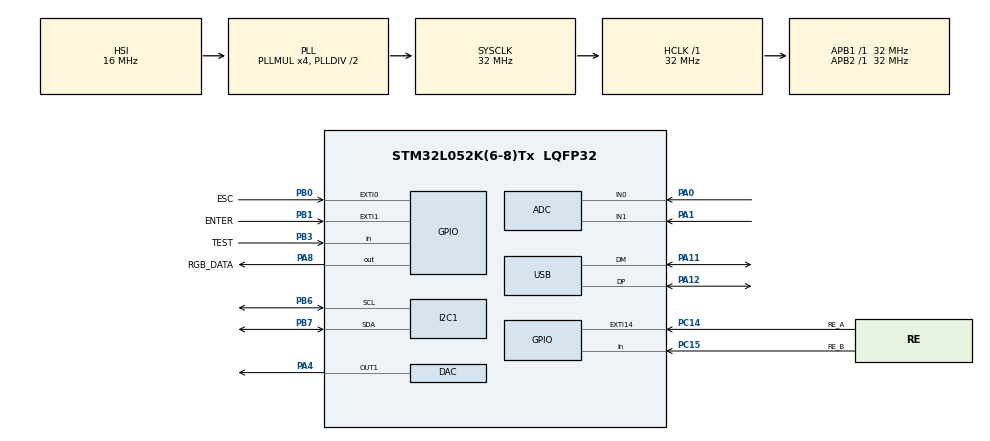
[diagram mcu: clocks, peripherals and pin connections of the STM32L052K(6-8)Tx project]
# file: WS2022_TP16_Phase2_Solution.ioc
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ADC.ClockPrescaler=ADC_CLOCK_ASYNC_DIV64
ADC.ContinuousConvMode=ENABLE
ADC.DMAContinuousRequests=ENABLE
ADC.SamplingTime=ADC_SAMPLETIME_160CYCLES_5
Dma.ADC.0.Direction=DMA_PERIPH_TO_MEMORY
Dma.ADC.0.Instance=DMA1_Channel1
Dma.ADC.0.MemDataAlignment=DMA_MDATAALIGN_WORD
Dma.ADC.0.MemInc=DMA_MINC_ENABLE
Dma.ADC.0.Mode=DMA_CIRCULAR
Dma.ADC.0.PeriphDataAlignment=DMA_PDATAALIGN_WORD
Dma.ADC.0.PeriphInc=DMA_PINC_DISABLE
Dma.ADC.0.Priority=DMA_PRIORITY_LOW
Dma.Request0=ADC
Dma.Request1=TIM6_UP
Dma.TIM6_UP.1.Direction=DMA_PERIPH_TO_MEMORY
Dma.TIM6_UP.1.Instance=DMA1_Channel2
Dma.TIM6_UP.1.MemDataAlignment=DMA_MDATAALIGN_WORD
Dma.TIM6_UP.1.MemInc=DMA_MINC_DISABLE
Dma.TIM6_UP.1.Mode=DMA_NORMAL
Dma.TIM6_UP.1.PeriphDataAlignment=DMA_PDATAALIGN_WORD
Dma.TIM6_UP.1.PeriphInc=DMA_PINC_DISABLE
Dma.TIM6_UP.1.Priority=DMA_PRIORITY_LOW
I2C1.Timing=0x00707CBB
Mcu.Family=STM32L0
Mcu.Name=STM32L052K(6-8)Tx
Mcu.Package=LQFP32
NVIC.DMA1_Channel1_IRQn=true\:0\:0\:false\:false\:true\:false\:true\:true
NVIC.DMA1_Channel2_3_IRQn=true\:0\:0\:false\:false\:true\:false\:true\:true
NVIC.EXTI0_1_IRQn=true\:0\:0\:false\:false\:true\:true\:true\:true
NVIC.EXTI4_15_IRQn=true\:0\:0\:false\:false\:true\:true\:true\:true
NVIC.TIM6_DAC_IRQn=true\:0\:0\:false\:false\:true\:true\:true\:true
NVIC.USB_IRQn=true\:0\:0\:false\:false\:true\:false\:true\:true
PA0.Mode=IN0
PA0.Signal=ADC_IN0
PA1.Mode=IN1
PA1.Signal=ADC_IN1
PA10.Signal=USART1_RX
PA11.Mode=Device
PA11.Signal=USB_DM
PA12.Mode=Device
PA12.Signal=USB_DP
PA13.Mode=Serial_Wire
PA13.Signal=SYS_SWDIO
PA14.Mode=Serial_Wire
PA14.Signal=SYS_SWCLK
PA4.Signal=COMP_DAC1_group
PA5.Signal=SPI1_SCK
PA6.Signal=SPI1_MISO
PA7.Signal=SPI1_MOSI
PA8.GPIO_Label=RGB_DATA
PA8.GPIO_Speed=GPIO_SPEED_FREQ_VERY_HIGH
PA8.PinState=GPIO_PIN_RESET
PA8.Signal=GPIO_Output
PA9.Signal=USART1_TX
PB0.GPIO_Label=ESC
PB0.GPIO_ModeDefaultEXTI=GPIO_MODE_IT_FALLING
PB0.GPIO_PuPd=GPIO_PULLUP
PB0.Signal=GPXTI0
PB1.GPIO_Label=ENTER
PB1.GPIO_ModeDefaultEXTI=GPIO_MODE_IT_FALLING
PB1.GPIO_PuPd=GPIO_PULLUP
PB1.Signal=GPXTI1
PB3.GPIO_Label=TEST
PB3.GPIO_PuPd=GPIO_PULLUP
PB3.Signal=GPIO_Input
PB6.Mode=I2C
PB6.Signal=I2C1_SCL
PB7.Mode=I2C
PB7.Signal=I2C1_SDA
PC14-OSC32_IN.GPIO_Label=RE_A
PC14-OSC32_IN.GPIO_ModeDefaultEXTI=GPIO_MODE_IT_FALLING
PC14-OSC32_IN.GPIO_PuPd=GPIO_PULLUP
PC14-OSC32_IN.Signal=GPXTI14
PC15-OSC32_OUT.GPIO_Label=RE_B
PC15-OSC32_OUT.GPIO_PuPd=GPIO_PULLUP
PC15-OSC32_OUT.Signal=GPIO_Input
ProjectManager.HeapSize=0x200
ProjectManager.StackSize=0x400
ProjectManager.TargetToolchain=STM32CubeIDE
RCC.AHBFreq_Value=32000000
RCC.APB1Freq_Value=32000000
RCC.APB1TimFreq_Value=32000000
RCC.APB2Freq_Value=32000000
RCC.APB2TimFreq_Value=32000000
RCC.HCLKFreq_Value=32000000
RCC.HSI16_VALUE=16000000
RCC.HSI48MClockSelection=RCC_USBCLKSOURCE_HSI48
RCC.HSI48_VALUE=48000000
RCC.HSI_VALUE=16000000
RCC.LSE_VALUE=32768
RCC.MSI_VALUE=2097000
RCC.PLLMUL=RCC_PLLMUL_4
RCC.SYSCLKFreq_VALUE=32000000
RCC.SYSCLKSource=RCC_SYSCLKSOURCE_PLLCLK
RCC.VCOOutputFreq_Value=64000000
RTC.AsynchPrediv=124
RTC.Date=20
RTC.Hours=11
RTC.Minutes=59
RTC.Month=RTC_MONTH_OCTOBER
RTC.Seconds=50
RTC.StoreOperation=RTC_STOREOPERATION_RESET
RTC.SynchPrediv=333
RTC.WeekDay=RTC_WEEKDAY_THURSDAY
RTC.Year=22
SH.COMP_DAC1_group.0=DAC_OUT1,DAC_OUT1
TIM6.Period=10000
TIM6.Prescaler=3199
USB_DEVICE.CLASS_NAME_FS=CDC
USB_DEVICE.VirtualMode=Cdc
USB_DEVICE.VirtualModeFS=Cdc_FS
VP_RTC_VS_RTC_Activate.Mode=RTC_Enabled
VP_RTC_VS_RTC_Calendar.Mode=RTC_Calendar
VP_TIM6_VS_ClockSourceINT.Mode=Enable_Timer
VP_USB_DEVICE_VS_USB_DEVICE_CDC_FS.Mode=CDC_FS
board=custom

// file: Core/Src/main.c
/* USER CODE BEGIN Header */
/**
 ******************************************************************************
 * @file           : main.c
 * @brief          : Main program body
 ******************************************************************************
 * @attention
 *
 * Copyright (c) 2022 STMicroelectronics.
 * All rights reserved.
 *
 * This software is licensed under terms that can be found in the LICENSE file
 * in the root directory of this software component.
 * If no LICENSE file comes with this software, it is provided AS-IS.
 *
 ******************************************************************************
 */
/* USER CODE END Header */
#include "main.h"
#include "adc.h"
#include "dac.h"
#include "dma.h"
#include "i2c.h"
#include "rtc.h"
#include "tim.h"
#include "usb_device.h"
#include "gpio.h"

/* USER CODE BEGIN Includes */
#include "lcd.h"
#include "ws2812b.h"
#include "pca9536.h"
#include <stdio.h>
#include "usbd_cdc_if.h"
#include "aht20.h"
/* USER CODE END Includes */

/* USER CODE BEGIN PD */
#define ALIGN_ACCESS 4
/* USER CODE END PD */

/* USER CODE BEGIN PV */
char buff[17];
uint32_t led_colors[12] = { 0 };
uint8_t rotary = 1;

uint32_t Trimpot[2];

enum
{
  celsius = 1, fahrenheit
} tempUnit = 1;

enum
{
  sensor = 0, trimpot
} sources = 0;

enum
{
  reportCurrent = 1, reportAverage, reportLowest, reportHighest, clearEeprom, reportUnavailable, reportError, reportMenu
} reportOptions = 1;

RTC_TimeTypeDef currentTime;
RTC_DateTypeDef currentDate;

uint8_t usbReceivedString[10];
uint8_t usbReceiveBuf[10];
uint8_t usbSendBuf[400];

uint16_t tempAndHum[2];
uint8_t tenAverageMeasures = 0;

uint8_t oneTimePressed = 0;
uint16_t averageTempAndHum[2];

// 0      1      2     3      4       5
//LHum, LTemp, HHum, HTemp, AvgHum, AvgTemp
uint32_t persistentTempAndHum[6];
uint32_t resetBuf[4] = { 333, 0, 0, 0 };
uint32_t BaseEEPROMAddr = 0x08080000U;
uint8_t persistentAddr = 0x00;
uint8_t isDifferent = 0;
uint8_t isResetRequested = 0;

/* USER CODE END PV */

void SystemClock_Config(void);

/* USER CODE BEGIN 0 */
void setCurrentTimeForTest ()
{
  currentTime.Hours = 12;
  currentTime.Minutes = 05;
  currentTime.Seconds = 20;
}

void writeToEEPROM (uint8_t addrP, uint32_t valueP)
{
//  Cortex-M0 does not support unaligned read/write operations

//  0x08080002 halfword aligned
//  0x08080004 word aligned

  HAL_FLASHEx_DATAEEPROM_Unlock ();
  HAL_FLASHEx_DATAEEPROM_Erase (DATA_EEPROM_BASE | (addrP * ALIGN_ACCESS));
  HAL_FLASHEx_DATAEEPROM_Program (FLASH_TYPEPROGRAMDATA_WORD, (DATA_EEPROM_BASE | (addrP * ALIGN_ACCESS)), valueP);
  HAL_FLASHEx_DATAEEPROM_Lock ();
  HAL_Delay (10);
}

uint32_t readFromEEPROM (uint8_t addrP)
{
  return (*(__IO uint32_t*) (DATA_EEPROM_BASE | (addrP * ALIGN_ACCESS)));
}

void readEepromForPersistentValues (uint32_t *persistentValuesP)
{
  for (uint8_t i = 0; i < 4; i++)
	persistentValuesP[i] = readFromEEPROM (i);
}

void writePersistentValuesToEeprom (uint32_t *persistentValuesP)
{
  for (uint8_t i = 0; i < 4; i++)
	writeToEEPROM (i, persistentValuesP[i]);
}

void clearLeds ()
{
  led_colors[0] = COLOR_BLACK;
  led_colors[1] = COLOR_BLACK;
  led_colors[2] = COLOR_BLACK;
  led_colors[3] = COLOR_BLACK;
  led_colors[4] = COLOR_BLACK;
  led_colors[5] = COLOR_BLACK;
  led_colors[6] = COLOR_BLACK;
  led_colors[7] = COLOR_BLACK;
  led_colors[8] = COLOR_BLACK;
  led_colors[9] = COLOR_BLACK;
  led_colors[10] = COLOR_BLACK;
  led_colors[11] = COLOR_BLACK;
  ws2812b_display_all_led_colors (led_colors);
}

void showTimeOnLeds ()
{

  uint8_t minuteLed = currentTime.Minutes / 5;
  //Minutes
  for (uint8_t i = 0; i < 12; i++)
  {
	if (i == currentTime.Minutes / 5) led_colors[i] = COLOR_BLUE;
	else led_colors[i] = COLOR_BLACK;
  }

  //Hours
  for (uint8_t i = 0; i < 12; i++)
  {
	if (currentTime.Hours >= 12)
	{
	  //PM
	  if (i <= (currentTime.Hours - 12))
	  {
		if (minuteLed != i) led_colors[i] = COLOR_ORANGE;
		else led_colors[i] = COLOR_VIOLET;
	  }
	}
	else
	{
	  //AM
	  if (i <= currentTime.Hours)
	  {
		if (minuteLed != i) led_colors[i] = COLOR_RED;
		else led_colors[i] = COLOR_VIOLET;
	  }
	}
  }

  //Seconds
  for (uint8_t i = 0; i < 12; i++)
  {
	if (i == currentTime.Seconds / 5) led_colors[i] = COLOR_GREEN;
  }

  ws2812b_display_all_led_colors (led_colors);
}

void HAL_GPIO_EXTI_Callback (uint16_t pin)
{
  if (pin == RE_A_Pin)
  {
	//Clockwise
	if (HAL_GPIO_ReadPin (RE_B_GPIO_Port, RE_B_Pin) == 1) tempUnit++;
	else tempUnit--;

	if (tempUnit > 2) tempUnit = 1;
	if (tempUnit < 1) tempUnit = 2;
  }

  //ENTER Button
  if (pin == GPIO_PIN_0)
  {
	sources++;
	if (sources > 1) sources = 0;
  }

  //ESC Button
  if (pin == GPIO_PIN_1)
  {
	if (!oneTimePressed) tenAverageMeasures = 10;
	oneTimePressed = 1;
  }
}

void getRtcTime ()
{
  HAL_RTC_GetTime (&hrtc, &currentTime, RTC_FORMAT_BIN);
  HAL_RTC_GetDate (&hrtc, &currentDate, RTC_FORMAT_BIN);
}

void convertTrimpotValues ()
{
  tempAndHum[0] = (float) (4095 - Trimpot[1]) * 0.0244;
  tempAndHum[1] = (float) (4095 - Trimpot[0]) * 0.004 + 6;
}

uint16_t convertCelsiusToFahrenheit (uint16_t temperatureP)
{
  return (float) (temperatureP * 1.8 + 32);
}

void getLowestAndHighestValues ()
{
  //Finds the lowest Temp and Hum
  if (tempAndHum[1] < persistentTempAndHum[1] || persistentTempAndHum[1] == 0)
  {
	persistentTempAndHum[1] = tempAndHum[1]; //Temp
	isDifferent = 1;
  }
  if (tempAndHum[0] < persistentTempAndHum[0] || persistentTempAndHum[0] == 333)
  {
	persistentTempAndHum[0] = tempAndHum[0]; //Hum
	isDifferent = 1;
  }

  //Finds the highest Temp and Hum
  if (tempAndHum[1] > persistentTempAndHum[3] || persistentTempAndHum[3] == 0)
  {
	persistentTempAndHum[3] = tempAndHum[1]; //Temp
	isDifferent = 1;
  }
  if (tempAndHum[0] > persistentTempAndHum[2] || persistentTempAndHum[2] == 0)
  {
	persistentTempAndHum[2] = tempAndHum[0]; //Hum
	isDifferent = 1;
  }

  if (isDifferent)
  {
	isDifferent = 0;
	writePersistentValuesToEeprom (persistentTempAndHum);
  }
}

void readTempAndHumidity ()
{
  if (sources) convertTrimpotValues ();
  else getTemperatureAndHumidity (tempAndHum);

  getLowestAndHighestValues ();
}

void weatherSupervisory ()
{
  if (!HAL_GPIO_ReadPin (TEST_GPIO_Port, TEST_Pin)) setCurrentTimeForTest ();
  showTimeOnLeds ();

  lcd_goto_rc (0, 0);
  sprintf (buff, "%02d", tempUnit == 1 ? tempAndHum[1] : convertCelsiusToFahrenheit (tempAndHum[1]));
  lcd_putstr (buff);
  lcd_putchar (0xF2); //Degree symbol
  lcd_putchar (tempUnit == 1 ? 'C' : 'F'); //Unit letter
  lcd_putstr ("    ");
  lcd_putchar (tenAverageMeasures ? '*' : ' '); //Average happening
  sprintf (buff, "    %02d%%", tempAndHum[0]);
  lcd_putstr (buff);

  lcd_goto_rc (1, 0);
  sprintf (buff, "    %02d:%02d:%02d    ", currentTime.Hours, currentTime.Minutes, currentTime.Seconds);
  lcd_putstr (buff);
}

void sendReport ()
{
  if (reportOptions == reportAverage && (averageTempAndHum[0] == 0 || averageTempAndHum[1] == 0))
  {
	reportOptions = reportError;
  }

  uint16_t formattedValues[8];
  if (tempUnit == fahrenheit)
  {
	formattedValues[1] = convertCelsiusToFahrenheit (tempAndHum[1]); //CurentTem
	formattedValues[3] = convertCelsiusToFahrenheit (averageTempAndHum[1]); //AvgTem
	formattedValues[5] = convertCelsiusToFahrenheit (persistentTempAndHum[1]);	//LowestTem
	formattedValues[7] = convertCelsiusToFahrenheit (persistentTempAndHum[3]); //HighestTem
  }
  else
  {
	formattedValues[1] = tempAndHum[1]; //CurentTem
	formattedValues[3] = averageTempAndHum[1]; //AvgTem
	formattedValues[5] = persistentTempAndHum[1];	//LowestTem
	formattedValues[7] = persistentTempAndHum[3]; //HighestTem
  }
  formattedValues[0] = tempAndHum[0]; //CurrentHum
  formattedValues[2] = averageTempAndHum[0]; //AvgHum
  formattedValues[4] = persistentTempAndHum[0]; //LowestHum
  formattedValues[6] = persistentTempAndHum[2]; //HighestHum

  switch (reportOptions)
  {
	case reportCurrent:
	  sprintf (usbSendBuf, "\n----Current Temperature and Humidity----\n\n"
			   "Temperature: %02d%c%c\n"
			   "Humidity: %02d%%\n"
			   "----------------------------------------\n\n",
			   formattedValues[1], 0xB0, tempUnit == 1 ? 'C' : 'F', formattedValues[0]);
	  break;

	case reportAverage:
	  sprintf (usbSendBuf, "\n----Average Temperature and Humidity for 10 measurements----\n\n"
			   "Average Temperature: %02d%c%c\n"
			   "Average Humidity: %02d%%\n"
			   "------------------------------------------------------------\n\n",
			   formattedValues[3], 0xB0, tempUnit == 1 ? 'C' : 'F', formattedValues[2]);
	  break;

	case reportLowest:
	  sprintf (usbSendBuf, "\n----Lowest Temperature and Humidity registered----\n\n"
			   "Lowest Temperature: %02d%c%c\n"
			   "Lowest Humidity: %02d%%\n"
			   "--------------------------------------------------\n\n",
			   formattedValues[5], 0xB0, tempUnit == 1 ? 'C' : 'F', formattedValues[4]);
	  break;

	case reportHighest:
	  sprintf (usbSendBuf, "\n----Highest Temperature and Humidity registered----\n\n"
			   "Highest Temperature: %02d%c%c\n"
			   "Highest Humidity: %02d%%\n"
			   "---------------------------------------------------\n\n",
			   formattedValues[7], 0xB0, tempUnit == 1 ? 'C' : 'F', formattedValues[6]);
	  break;

	case clearEeprom:
	  writePersistentValuesToEeprom (resetBuf);
	  readEepromForPersistentValues (persistentTempAndHum);
	  sprintf (usbSendBuf, "\n----EEPROM has been erased----\n\n");
	  break;

	case reportUnavailable:
	  sprintf (usbSendBuf, "\n----Sorry, no report corresponds to the request!----\n\n");
	  break;

	case reportError:
	  sprintf (usbSendBuf, "\n----Average Temperature and Humidity for 10 measurements----\n\n"
			   "No average temperature/humidity available,\n"
			   "please execute averaging measurement\n"
			   "------------------------------------------------------------\n\n");
	  break;

	case reportMenu:
	  sprintf (usbSendBuf, "\nWeather Station - WorldSkills Special Edition 2022\n\n"
			   "1.Current Temperature and Humidity\n"
			   "2.Average Temperature and Humidity for 10 measurements\n"
			   "3.Lowest Temperature and Humidity registered\n"
			   "4.Highest Temperature and Humidity registered\n"
			   "5.Erase EEPROM values\n");
	  break;
  }

  CDC_Transmit_FS (usbSendBuf, strlen (usbSendBuf));
}

/* USER CODE END 0 */

int main(void)
{

  /* MCU Configuration--------------------------------------------------------*/

  /* Reset of all peripherals, Initializes the Flash interface and the Systick. */
  HAL_Init();

  /* Configure the system clock */
  SystemClock_Config();

  /* Initialize all configured peripherals */
  MX_GPIO_Init();
  MX_DMA_Init();
  MX_ADC_Init();
  MX_DAC_Init();
  MX_I2C1_Init();
  MX_RTC_Init();
  MX_USB_DEVICE_Init();
  MX_TIM6_Init();
  /* USER CODE BEGIN 2 */

  HAL_ADCEx_Calibration_Start (&hadc, ADC_SINGLE_ENDED);
  HAL_ADC_Start_DMA (&hadc, Trimpot, 2);

  HAL_TIM_Base_Start_IT (&htim6);

  lcd_init ();
  lcd_write_cmd (LCD_CLEAR_DISPLAY);
  lcd_write_cmd (LCD_CURSOR_OFF);

  pca9536_configure_port (&hi2c1, 0xC0);
  pca9536_write_port_outputs (&hi2c1, 0x02);

  initAHT20 ();
  getRtcTime ();

  readEepromForPersistentValues (persistentTempAndHum);

  HAL_Delay (2000);

  reportOptions = reportMenu;
  sendReport ();

  /* USER CODE END 2 */

  /* Infinite loop */
  while (1)
  {

    /* USER CODE BEGIN 3 */
	if (isResetRequested)
	{
	  isResetRequested = 0;
	  sendReport ();
	}

	readTempAndHumidity ();
	getRtcTime ();
	weatherSupervisory ();
	HAL_Delay (100);
  }
  /* USER CODE END 3 */
}

void SystemClock_Config(void)
{
  RCC_OscInitTypeDef RCC_OscInitStruct = {0};
  RCC_ClkInitTypeDef RCC_ClkInitStruct = {0};
  RCC_PeriphCLKInitTypeDef PeriphClkInit = {0};

  /** Configure the main internal regulator output voltage
  */
  __HAL_PWR_VOLTAGESCALING_CONFIG(PWR_REGULATOR_VOLTAGE_SCALE1);

  /** Initializes the RCC Oscillators according to the specified parameters
  * in the RCC_OscInitTypeDef structure.
  */
  RCC_OscInitStruct.OscillatorType = RCC_OSCILLATORTYPE_HSI|RCC_OSCILLATORTYPE_LSI
                              |RCC_OSCILLATORTYPE_HSI48;
  RCC_OscInitStruct.HSIState = RCC_HSI_ON;
  RCC_OscInitStruct.HSICalibrationValue = RCC_HSICALIBRATION_DEFAULT;
  RCC_OscInitStruct.LSIState = RCC_LSI_ON;
  RCC_OscInitStruct.HSI48State = RCC_HSI48_ON;
  RCC_OscInitStruct.PLL.PLLState = RCC_PLL_ON;
  RCC_OscInitStruct.PLL.PLLSource = RCC_PLLSOURCE_HSI;
  RCC_OscInitStruct.PLL.PLLMUL = RCC_PLLMUL_4;
  RCC_OscInitStruct.PLL.PLLDIV = RCC_PLLDIV_2;
  if (HAL_RCC_OscConfig(&RCC_OscInitStruct) != HAL_OK)
  {
    Error_Handler();
  }

  /** Initializes the CPU, AHB and APB buses clocks
  */
  RCC_ClkInitStruct.ClockType = RCC_CLOCKTYPE_HCLK|RCC_CLOCKTYPE_SYSCLK
                              |RCC_CLOCKTYPE_PCLK1|RCC_CLOCKTYPE_PCLK2;
  RCC_ClkInitStruct.SYSCLKSource = RCC_SYSCLKSOURCE_PLLCLK;
  RCC_ClkInitStruct.AHBCLKDivider = RCC_SYSCLK_DIV1;
  RCC_ClkInitStruct.APB1CLKDivider = RCC_HCLK_DIV1;
  RCC_ClkInitStruct.APB2CLKDivider = RCC_HCLK_DIV1;

  if (HAL_RCC_ClockConfig(&RCC_ClkInitStruct, FLASH_LATENCY_1) != HAL_OK)
  {
    Error_Handler();
  }
  PeriphClkInit.PeriphClockSelection = RCC_PERIPHCLK_I2C1|RCC_PERIPHCLK_RTC
                              |RCC_PERIPHCLK_USB;
  PeriphClkInit.I2c1ClockSelection = RCC_I2C1CLKSOURCE_PCLK1;
  PeriphClkInit.RTCClockSelection = RCC_RTCCLKSOURCE_LSI;
  PeriphClkInit.UsbClockSelection = RCC_USBCLKSOURCE_HSI48;
  if (HAL_RCCEx_PeriphCLKConfig(&PeriphClkInit) != HAL_OK)
  {
    Error_Handler();
  }
}

/* USER CODE BEGIN 4 */
void HAL_TIM_PeriodElapsedCallback (TIM_HandleTypeDef *htim)
{
  if (tenAverageMeasures)
  {
	averageTempAndHum[0] += tempAndHum[0];
	averageTempAndHum[1] += tempAndHum[1];
	tenAverageMeasures--;

	if (tenAverageMeasures == 0)
	{
	  averageTempAndHum[0] /= 10;
	  averageTempAndHum[1] /= 10;
	  oneTimePressed = 0;
	}
  }

//  currentTime.Seconds++;
//  if (currentTime.Seconds > 59)
//  {
//	currentTime.Seconds = 0;
//	currentTime.Minutes++;
//  }
//  if (currentTime.Minutes > 59)
//  {
//	currentTime.Minutes = 0;
//	currentTime.Hours++;
//  }
//  if (currentTime.Hours > 23)
//  {
//	currentTime.Hours = 0;
//  }
}
/* USER CODE END 4 */

void Error_Handler(void)
{
  /* USER CODE BEGIN Error_Handler_Debug */
  /* User can add his own implementation to report the HAL error return state */
  __disable_irq ();
  while (1)
  {
  }
  /* USER CODE END Error_Handler_Debug */
}
